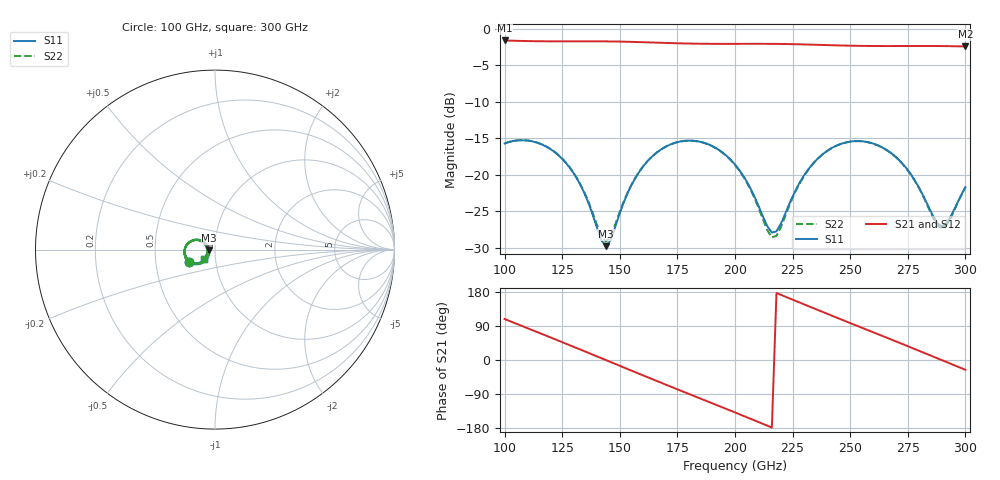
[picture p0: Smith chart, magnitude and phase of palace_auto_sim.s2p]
#  GHZ S DB R 50
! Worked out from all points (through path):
!   101 points, 100 GHz to 300 GHz, reference 50 ohm
!   highest |S21| = -1.62 dB at 100 GHz (marker M1); lowest = -2.4 dB at 300 GHz (marker M2)
!   group delay of S21, straight-line fit = 6.86 ps
!   lowest |S11| = -29.8 dB at 144 GHz (marker M3), VSWR 1.07, Z = 46.9 - j0.401 ohm
!   |S11| at or under -10 dB: start of sweep to end of sweep
!   |S22| runs from -29.2 to -15.3 dB; largest |S21 - S12| = 9.4e-14
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100  -15.73 -154.6  -1.62 108.2  -1.62 108.2  -15.72 -154.3
108  -15.29 -171.3  -1.69 88.6  -1.69 88.6  -15.27 -170.9
116  -15.85 172.4  -1.73 69.1  -1.73 69.1  -15.82 172.8
126  -18.18 153.9  -1.74 44.6  -1.74 44.6  -18.13 154.6
134  -22.12 144.9  -1.73 24.8  -1.73 24.8  -22.00 146.2
144  -29.81 -172.4  -1.74 -0.3  -1.74 -0.3  -29.19 -172.9
156  -20.87 -130.8  -1.82 -30.4  -1.82 -30.4  -20.81 -132.5
168  -16.53 -149.0  -1.94 -60.2  -1.94 -60.2  -16.53 -150.1
176  -15.47 -164.3  -2.01 -79.8  -2.01 -79.8  -15.48 -165.4
184  -15.44 -179.9  -2.06 -99.3  -2.06 -99.3  -15.46 179.1
200  -18.61 152.6  -2.08 -138.4  -2.08 -138.4  -18.68 151.1
208  -22.70 148.0  -2.07 -158.2  -2.07 -158.2  -22.89 145.9
216  -27.94 180.0  -2.08 -178.2  -2.08 -178.2  -28.59 179.4
218  -27.78 -163.9  -2.09 176.8  -2.09 176.8  -28.40 -162.9
224  -23.70 -137.9  -2.12 161.8  -2.12 161.8  -23.91 -135.9
234  -18.43 -141.7  -2.20 136.8  -2.20 136.8  -18.47 -140.6
250  -15.47 -168.7  -2.33 97.5  -2.33 97.5  -15.49 -168.2
258  -15.57 176.6  -2.37 78.0  -2.37 78.0  -15.59 177.0
268  -17.10 159.5  -2.38 53.6  -2.38 53.6  -17.13 159.7
280  -21.85 148.8  -2.37 24.0  -2.37 24.0  -21.94 148.6
290  -27.09 -174.7  -2.39 -0.9  -2.39 -0.9  -27.39 -173.8
300  -21.70 -140.2  -2.44 -25.9  -2.44 -25.9  -21.76 -138.6
